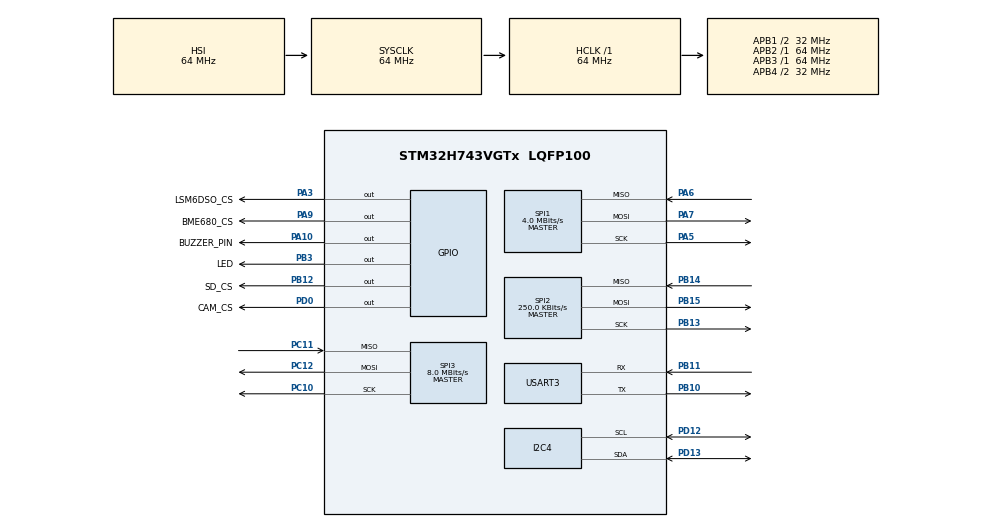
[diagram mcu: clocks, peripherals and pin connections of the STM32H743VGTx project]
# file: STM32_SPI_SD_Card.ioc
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CORTEX_M7.default_mode_Activation=1
FATFS._MAX_SS=512
FATFS._USE_LFN=0
I2C4.Timing=0x00707CBB
Mcu.Family=STM32H7
Mcu.Name=STM32H743VGTx
Mcu.Package=LQFP100
NVIC.PriorityGroup=NVIC_PRIORITYGROUP_4
PA10.GPIO_Label=BUZZER_PIN
PA10.Signal=GPIO_Output
PA3.GPIO_Label=LSM6DSO_CS
PA3.GPIO_PuPd=GPIO_NOPULL
PA3.Signal=GPIO_Output
PA5.GPIO_PuPd=GPIO_NOPULL
PA5.Mode=Full_Duplex_Master
PA5.Signal=SPI1_SCK
PA6.GPIO_PuPd=GPIO_PULLUP
PA6.Mode=Full_Duplex_Master
PA6.Signal=SPI1_MISO
PA7.GPIO_PuPd=GPIO_PULLUP
PA7.Mode=Full_Duplex_Master
PA7.Signal=SPI1_MOSI
PA9.GPIO_Label=BME680_CS
PA9.Signal=GPIO_Output
PB10.Mode=Asynchronous
PB10.Signal=USART3_TX
PB11.Mode=Asynchronous
PB11.Signal=USART3_RX
PB12.GPIO_Label=SD_CS
PB12.GPIO_ModeDefaultOutputPP=GPIO_MODE_OUTPUT_PP
PB12.GPIO_PuPd=GPIO_NOPULL
PB12.PinState=GPIO_PIN_SET
PB12.Signal=GPIO_Output
PB13.GPIO_PuPd=GPIO_NOPULL
PB13.Mode=Full_Duplex_Master
PB13.Signal=SPI2_SCK
PB14.GPIO_PuPd=GPIO_PULLUP
PB14.Mode=Full_Duplex_Master
PB14.Signal=SPI2_MISO
PB15.GPIO_PuPd=GPIO_PULLUP
PB15.Mode=Full_Duplex_Master
PB15.Signal=SPI2_MOSI
PB3\ (JTDO/TRACESWO).GPIO_Label=LED
PB3\ (JTDO/TRACESWO).Signal=GPIO_Output
PC10.Mode=Full_Duplex_Master
PC10.Signal=SPI3_SCK
PC11.Mode=Full_Duplex_Master
PC11.Signal=SPI3_MISO
PC12.Mode=Full_Duplex_Master
PC12.Signal=SPI3_MOSI
PD0.GPIO_Label=CAM_CS
PD0.Signal=GPIO_Output
PD12.Mode=I2C
PD12.Signal=I2C4_SCL
PD13.Mode=I2C
PD13.Signal=I2C4_SDA
ProjectManager.HeapSize=0x400
ProjectManager.StackSize=0x800
ProjectManager.TargetToolchain=STM32CubeIDE
RCC.ADCFreq_Value=129000000
RCC.APB1Freq_Value=32000000
RCC.APB2Freq_Value=64000000
RCC.APB3Freq_Value=64000000
RCC.APB4Freq_Value=32000000
RCC.CortexFreq_Value=64000000
RCC.D2PPRE1=RCC_APB1_DIV2
RCC.D3PPRE=RCC_APB4_DIV2
RCC.DIVM1=4
RCC.DIVN1=10
RCC.HCLKFreq_Value=64000000
RCC.PLLFRACN=0
RCC.SPI123CLockSelection=RCC_SPI123CLKSOURCE_CLKP
RCC.SYSCLKFreq_VALUE=64000000
RCC.USBCLockSelection=RCC_USBCLKSOURCE_HSI48
RCC.USBFreq_Value=48000000
SPI1.BaudRatePrescaler=SPI_BAUDRATEPRESCALER_16
SPI1.CalculateBaudRate=4.0 MBits/s
SPI1.DataSize=SPI_DATASIZE_16BIT
SPI1.Direction=SPI_DIRECTION_2LINES
SPI1.Mode=SPI_MODE_MASTER
SPI1.VirtualType=VM_MASTER
SPI2.BaudRatePrescaler=SPI_BAUDRATEPRESCALER_256
SPI2.CalculateBaudRate=250.0 KBits/s
SPI2.DataSize=SPI_DATASIZE_8BIT
SPI2.Direction=SPI_DIRECTION_2LINES
SPI2.Mode=SPI_MODE_MASTER
SPI2.VirtualType=VM_MASTER
SPI3.BaudRatePrescaler=SPI_BAUDRATEPRESCALER_8
SPI3.CalculateBaudRate=8.0 MBits/s
SPI3.DataSize=SPI_DATASIZE_8BIT
SPI3.Direction=SPI_DIRECTION_2LINES
SPI3.Mode=SPI_MODE_MASTER
SPI3.VirtualType=VM_MASTER
USART3.VirtualMode-Asynchronous=VM_ASYNC
VP_FATFS_VS_Generic.Mode=User_defined
VP_MEMORYMAP_VS_MEMORYMAP.Mode=CurAppReg
board=custom

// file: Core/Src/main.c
/* USER CODE BEGIN Header */
/**
  ******************************************************************************
  * @file           : main.c
  * @brief          : Main program body
  ******************************************************************************
  * @attention
  *
  * Copyright (c) 2026 STMicroelectronics.
  * All rights reserved.
  *
  * This software is licensed under terms that can be found in the LICENSE file
  * in the root directory of this software component.
  * If no LICENSE file comes with this software, it is provided AS-IS.
  *
  ******************************************************************************
  */
/* USER CODE END Header */
#include "main.h"
#include "fatfs.h"

/* USER CODE BEGIN Includes */
#include <stdio.h>
#include <string.h>
#include <stdarg.h> //for va_list var arg functions
#include "lsm6dso32_device.h"
#include "SD_Card.h"

/* USER CODE END Includes */

I2C_HandleTypeDef hi2c4;

SPI_HandleTypeDef hspi1;
SPI_HandleTypeDef hspi2;
SPI_HandleTypeDef hspi3;

UART_HandleTypeDef huart3;

void SystemClock_Config(void);
void PeriphCommonClock_Config(void);
static void MPU_Config(void);
static void MX_GPIO_Init(void);
static void MX_SPI2_Init(void);
static void MX_USART3_UART_Init(void);
static void MX_SPI1_Init(void);
static void MX_I2C4_Init(void);
static void MX_SPI3_Init(void);

/* USER CODE BEGIN 0 */
// Function which you can call like any other printf function and the output will come out UART3
void myprintf(const char *fmt, ...) {
  static char buffer[256];
  va_list args;
  va_start(args, fmt);
  vsnprintf(buffer, sizeof(buffer), fmt, args);
  va_end(args);

  int len = strlen(buffer);
  HAL_UART_Transmit(&huart3, (uint8_t*)buffer, len, -1);
}
/* USER CODE END 0 */

int main(void)
{

  /* MPU Configuration--------------------------------------------------------*/
  MPU_Config();

  /* MCU Configuration--------------------------------------------------------*/

  /* Reset of all peripherals, Initializes the Flash interface and the Systick. */
  HAL_Init();

  /* Configure the system clock */
  SystemClock_Config();

  /* Configure the peripherals common clocks */
  PeriphCommonClock_Config();

  /* Initialize all configured peripherals */
  MX_GPIO_Init();
  MX_SPI2_Init();
  MX_FATFS_Init();
  MX_USART3_UART_Init();
  MX_SPI1_Init();
  MX_I2C4_Init();
  MX_SPI3_Init();
  /* USER CODE BEGIN 2 */

  /// Test SD Card writing
  SD_initAndMount();
  //SD_createAndOpenFile("test2.txt");
  //SD_openFileForWriting("test2.txt");
  //SD_writeToOpenedFile("Something new in here now\r\n");
  //SD_writeToOpenedFile("Did the text get changed?\r\n");
  //SD_closeFile();
  //SD_unmount();

  // Initialize LSM6DSO32 IMU device
  HAL_Delay(1000);
  lsm6_init();
  /* USER CODE END 2 */

  /* Infinite loop */
  /* USER CODE BEGIN WHILE */
  uint8_t count = 0;
  while (1)
  {
    /* USER CODE END WHILE */

    /* USER CODE BEGIN 3 */
	switch (count++)
	{
		case 0:
		case 1:
			// This code will run twice as often as the other code
			//myprintf("Runs 2x as often\r\n");
			break;

		case 2:
			// This will run half as often
			//myprintf("Runs 1/2 as often\r\n");
			break;

		default:
			break;
	}
	// wrap count around
	if (count >= 3)
		count = 0;

	// Blink LED
	HAL_GPIO_TogglePin(LED_GPIO_Port, LED_Pin);	// Toggle an LED
	HAL_Delay(1000);	// TODO don't delay like this in the main loop - this is called blocking code as it blocks everything, we want non-blocking code

	// Test LSM6DSO32 IMU Device
	lsm6_getAndPrintData();
  }
  /* USER CODE END 3 */
}

void SystemClock_Config(void)
{
  RCC_OscInitTypeDef RCC_OscInitStruct = {0};
  RCC_ClkInitTypeDef RCC_ClkInitStruct = {0};

  /** Supply configuration update enable
  */
  HAL_PWREx_ConfigSupply(PWR_LDO_SUPPLY);

  /** Configure the main internal regulator output voltage
  */
  __HAL_PWR_VOLTAGESCALING_CONFIG(PWR_REGULATOR_VOLTAGE_SCALE3);

  while(!__HAL_PWR_GET_FLAG(PWR_FLAG_VOSRDY)) {}

  /** Initializes the RCC Oscillators according to the specified parameters
  * in the RCC_OscInitTypeDef structure.
  */
  RCC_OscInitStruct.OscillatorType = RCC_OSCILLATORTYPE_HSI;
  RCC_OscInitStruct.HSIState = RCC_HSI_DIV1;
  RCC_OscInitStruct.HSICalibrationValue = RCC_HSICALIBRATION_DEFAULT;
  RCC_OscInitStruct.PLL.PLLState = RCC_PLL_NONE;
  if (HAL_RCC_OscConfig(&RCC_OscInitStruct) != HAL_OK)
  {
    Error_Handler();
  }

  /** Initializes the CPU, AHB and APB buses clocks
  */
  RCC_ClkInitStruct.ClockType = RCC_CLOCKTYPE_HCLK|RCC_CLOCKTYPE_SYSCLK
                              |RCC_CLOCKTYPE_PCLK1|RCC_CLOCKTYPE_PCLK2
                              |RCC_CLOCKTYPE_D3PCLK1|RCC_CLOCKTYPE_D1PCLK1;
  RCC_ClkInitStruct.SYSCLKSource = RCC_SYSCLKSOURCE_HSI;
  RCC_ClkInitStruct.SYSCLKDivider = RCC_SYSCLK_DIV1;
  RCC_ClkInitStruct.AHBCLKDivider = RCC_HCLK_DIV1;
  RCC_ClkInitStruct.APB3CLKDivider = RCC_APB3_DIV1;
  RCC_ClkInitStruct.APB1CLKDivider = RCC_APB1_DIV2;
  RCC_ClkInitStruct.APB2CLKDivider = RCC_APB2_DIV1;
  RCC_ClkInitStruct.APB4CLKDivider = RCC_APB4_DIV2;

  if (HAL_RCC_ClockConfig(&RCC_ClkInitStruct, FLASH_LATENCY_1) != HAL_OK)
  {
    Error_Handler();
  }
}

void PeriphCommonClock_Config(void)
{
  RCC_PeriphCLKInitTypeDef PeriphClkInitStruct = {0};

  /** Initializes the peripherals clock
  */
  PeriphClkInitStruct.PeriphClockSelection = RCC_PERIPHCLK_CKPER;
  PeriphClkInitStruct.CkperClockSelection = RCC_CLKPSOURCE_HSI;
  if (HAL_RCCEx_PeriphCLKConfig(&PeriphClkInitStruct) != HAL_OK)
  {
    Error_Handler();
  }
}

static void MX_I2C4_Init(void)
{

  hi2c4.Instance = I2C4;
  hi2c4.Init.Timing = 0x00707CBB;
  hi2c4.Init.OwnAddress1 = 0;
  hi2c4.Init.AddressingMode = I2C_ADDRESSINGMODE_7BIT;
  hi2c4.Init.DualAddressMode = I2C_DUALADDRESS_DISABLE;
  hi2c4.Init.OwnAddress2 = 0;
  hi2c4.Init.OwnAddress2Masks = I2C_OA2_NOMASK;
  hi2c4.Init.GeneralCallMode = I2C_GENERALCALL_DISABLE;
  hi2c4.Init.NoStretchMode = I2C_NOSTRETCH_DISABLE;
  if (HAL_I2C_Init(&hi2c4) != HAL_OK)
  {
    Error_Handler();
  }

  /** Configure Analogue filter
  */
  if (HAL_I2CEx_ConfigAnalogFilter(&hi2c4, I2C_ANALOGFILTER_ENABLE) != HAL_OK)
  {
    Error_Handler();
  }

  /** Configure Digital filter
  */
  if (HAL_I2CEx_ConfigDigitalFilter(&hi2c4, 0) != HAL_OK)
  {
    Error_Handler();
  }

}

static void MX_SPI1_Init(void)
{

  /* SPI1 parameter configuration*/
  hspi1.Instance = SPI1;
  hspi1.Init.Mode = SPI_MODE_MASTER;
  hspi1.Init.Direction = SPI_DIRECTION_2LINES;
  hspi1.Init.DataSize = SPI_DATASIZE_16BIT;
  hspi1.Init.CLKPolarity = SPI_POLARITY_LOW;
  hspi1.Init.CLKPhase = SPI_PHASE_1EDGE;
  hspi1.Init.NSS = SPI_NSS_SOFT;
  hspi1.Init.BaudRatePrescaler = SPI_BAUDRATEPRESCALER_16;
  hspi1.Init.FirstBit = SPI_FIRSTBIT_MSB;
  hspi1.Init.TIMode = SPI_TIMODE_DISABLE;
  hspi1.Init.CRCCalculation = SPI_CRCCALCULATION_DISABLE;
  hspi1.Init.CRCPolynomial = 0x0;
  hspi1.Init.NSSPMode = SPI_NSS_PULSE_ENABLE;
  hspi1.Init.NSSPolarity = SPI_NSS_POLARITY_LOW;
  hspi1.Init.FifoThreshold = SPI_FIFO_THRESHOLD_01DATA;
  hspi1.Init.TxCRCInitializationPattern = SPI_CRC_INITIALIZATION_ALL_ZERO_PATTERN;
  hspi1.Init.RxCRCInitializationPattern = SPI_CRC_INITIALIZATION_ALL_ZERO_PATTERN;
  hspi1.Init.MasterSSIdleness = SPI_MASTER_SS_IDLENESS_00CYCLE;
  hspi1.Init.MasterInterDataIdleness = SPI_MASTER_INTERDATA_IDLENESS_00CYCLE;
  hspi1.Init.MasterReceiverAutoSusp = SPI_MASTER_RX_AUTOSUSP_DISABLE;
  hspi1.Init.MasterKeepIOState = SPI_MASTER_KEEP_IO_STATE_DISABLE;
  hspi1.Init.IOSwap = SPI_IO_SWAP_DISABLE;
  if (HAL_SPI_Init(&hspi1) != HAL_OK)
  {
    Error_Handler();
  }

}

static void MX_SPI2_Init(void)
{

  /* SPI2 parameter configuration*/
  hspi2.Instance = SPI2;
  hspi2.Init.Mode = SPI_MODE_MASTER;
  hspi2.Init.Direction = SPI_DIRECTION_2LINES;
  hspi2.Init.DataSize = SPI_DATASIZE_8BIT;
  hspi2.Init.CLKPolarity = SPI_POLARITY_LOW;
  hspi2.Init.CLKPhase = SPI_PHASE_1EDGE;
  hspi2.Init.NSS = SPI_NSS_SOFT;
  hspi2.Init.BaudRatePrescaler = SPI_BAUDRATEPRESCALER_256;
  hspi2.Init.FirstBit = SPI_FIRSTBIT_MSB;
  hspi2.Init.TIMode = SPI_TIMODE_DISABLE;
  hspi2.Init.CRCCalculation = SPI_CRCCALCULATION_DISABLE;
  hspi2.Init.CRCPolynomial = 0x0;
  hspi2.Init.NSSPMode = SPI_NSS_PULSE_ENABLE;
  hspi2.Init.NSSPolarity = SPI_NSS_POLARITY_LOW;
  hspi2.Init.FifoThreshold = SPI_FIFO_THRESHOLD_01DATA;
  hspi2.Init.TxCRCInitializationPattern = SPI_CRC_INITIALIZATION_ALL_ZERO_PATTERN;
  hspi2.Init.RxCRCInitializationPattern = SPI_CRC_INITIALIZATION_ALL_ZERO_PATTERN;
  hspi2.Init.MasterSSIdleness = SPI_MASTER_SS_IDLENESS_00CYCLE;
  hspi2.Init.MasterInterDataIdleness = SPI_MASTER_INTERDATA_IDLENESS_00CYCLE;
  hspi2.Init.MasterReceiverAutoSusp = SPI_MASTER_RX_AUTOSUSP_DISABLE;
  hspi2.Init.MasterKeepIOState = SPI_MASTER_KEEP_IO_STATE_DISABLE;
  hspi2.Init.IOSwap = SPI_IO_SWAP_DISABLE;
  if (HAL_SPI_Init(&hspi2) != HAL_OK)
  {
    Error_Handler();
  }

}

static void MX_SPI3_Init(void)
{

  /* SPI3 parameter configuration*/
  hspi3.Instance = SPI3;
  hspi3.Init.Mode = SPI_MODE_MASTER;
  hspi3.Init.Direction = SPI_DIRECTION_2LINES;
  hspi3.Init.DataSize = SPI_DATASIZE_8BIT;
  hspi3.Init.CLKPolarity = SPI_POLARITY_LOW;
  hspi3.Init.CLKPhase = SPI_PHASE_1EDGE;
  hspi3.Init.NSS = SPI_NSS_SOFT;
  hspi3.Init.BaudRatePrescaler = SPI_BAUDRATEPRESCALER_8;
  hspi3.Init.FirstBit = SPI_FIRSTBIT_MSB;
  hspi3.Init.TIMode = SPI_TIMODE_DISABLE;
  hspi3.Init.CRCCalculation = SPI_CRCCALCULATION_DISABLE;
  hspi3.Init.CRCPolynomial = 0x0;
  hspi3.Init.NSSPMode = SPI_NSS_PULSE_ENABLE;
  hspi3.Init.NSSPolarity = SPI_NSS_POLARITY_LOW;
  hspi3.Init.FifoThreshold = SPI_FIFO_THRESHOLD_01DATA;
  hspi3.Init.TxCRCInitializationPattern = SPI_CRC_INITIALIZATION_ALL_ZERO_PATTERN;
  hspi3.Init.RxCRCInitializationPattern = SPI_CRC_INITIALIZATION_ALL_ZERO_PATTERN;
  hspi3.Init.MasterSSIdleness = SPI_MASTER_SS_IDLENESS_00CYCLE;
  hspi3.Init.MasterInterDataIdleness = SPI_MASTER_INTERDATA_IDLENESS_00CYCLE;
  hspi3.Init.MasterReceiverAutoSusp = SPI_MASTER_RX_AUTOSUSP_DISABLE;
  hspi3.Init.MasterKeepIOState = SPI_MASTER_KEEP_IO_STATE_DISABLE;
  hspi3.Init.IOSwap = SPI_IO_SWAP_DISABLE;
  if (HAL_SPI_Init(&hspi3) != HAL_OK)
  {
    Error_Handler();
  }

}

static void MX_USART3_UART_Init(void)
{

  huart3.Instance = USART3;
  huart3.Init.BaudRate = 115200;
  huart3.Init.WordLength = UART_WORDLENGTH_8B;
  huart3.Init.StopBits = UART_STOPBITS_1;
  huart3.Init.Parity = UART_PARITY_NONE;
  huart3.Init.Mode = UART_MODE_TX_RX;
  huart3.Init.HwFlowCtl = UART_HWCONTROL_NONE;
  huart3.Init.OverSampling = UART_OVERSAMPLING_16;
  huart3.Init.OneBitSampling = UART_ONE_BIT_SAMPLE_DISABLE;
  huart3.Init.ClockPrescaler = UART_PRESCALER_DIV1;
  huart3.AdvancedInit.AdvFeatureInit = UART_ADVFEATURE_NO_INIT;
  if (HAL_UART_Init(&huart3) != HAL_OK)
  {
    Error_Handler();
  }
  if (HAL_UARTEx_SetTxFifoThreshold(&huart3, UART_TXFIFO_THRESHOLD_1_8) != HAL_OK)
  {
    Error_Handler();
  }
  if (HAL_UARTEx_SetRxFifoThreshold(&huart3, UART_RXFIFO_THRESHOLD_1_8) != HAL_OK)
  {
    Error_Handler();
  }
  if (HAL_UARTEx_DisableFifoMode(&huart3) != HAL_OK)
  {
    Error_Handler();
  }

}

static void MX_GPIO_Init(void)
{
  GPIO_InitTypeDef GPIO_InitStruct = {0};

  /* GPIO Ports Clock Enable */
  __HAL_RCC_GPIOA_CLK_ENABLE();
  __HAL_RCC_GPIOB_CLK_ENABLE();
  __HAL_RCC_GPIOD_CLK_ENABLE();
  __HAL_RCC_GPIOC_CLK_ENABLE();

  /*Configure GPIO pin Output Level */
  HAL_GPIO_WritePin(GPIOA, LSM6DSO_CS_Pin|BME680_CS_Pin|BUZZER_PIN_Pin, GPIO_PIN_RESET);

  /*Configure GPIO pin Output Level */
  HAL_GPIO_WritePin(SD_CS_GPIO_Port, SD_CS_Pin, GPIO_PIN_SET);

  /*Configure GPIO pin Output Level */
  HAL_GPIO_WritePin(CAM_CS_GPIO_Port, CAM_CS_Pin, GPIO_PIN_RESET);

  /*Configure GPIO pin Output Level */
  HAL_GPIO_WritePin(LED_GPIO_Port, LED_Pin, GPIO_PIN_RESET);

  /*Configure GPIO pins : LSM6DSO_CS_Pin BME680_CS_Pin BUZZER_PIN_Pin */
  GPIO_InitStruct.Pin = LSM6DSO_CS_Pin|BME680_CS_Pin|BUZZER_PIN_Pin;
  GPIO_InitStruct.Mode = GPIO_MODE_OUTPUT_PP;
  GPIO_InitStruct.Pull = GPIO_NOPULL;
  GPIO_InitStruct.Speed = GPIO_SPEED_FREQ_LOW;
  HAL_GPIO_Init(GPIOA, &GPIO_InitStruct);

  /*Configure GPIO pins : SD_CS_Pin LED_Pin */
  GPIO_InitStruct.Pin = SD_CS_Pin|LED_Pin;
  GPIO_InitStruct.Mode = GPIO_MODE_OUTPUT_PP;
  GPIO_InitStruct.Pull = GPIO_NOPULL;
  GPIO_InitStruct.Speed = GPIO_SPEED_FREQ_LOW;
  HAL_GPIO_Init(GPIOB, &GPIO_InitStruct);

  /*Configure GPIO pin : CAM_CS_Pin */
  GPIO_InitStruct.Pin = CAM_CS_Pin;
  GPIO_InitStruct.Mode = GPIO_MODE_OUTPUT_PP;
  GPIO_InitStruct.Pull = GPIO_NOPULL;
  GPIO_InitStruct.Speed = GPIO_SPEED_FREQ_LOW;
  HAL_GPIO_Init(CAM_CS_GPIO_Port, &GPIO_InitStruct);

}

 /* MPU Configuration */

void MPU_Config(void)
{
  MPU_Region_InitTypeDef MPU_InitStruct = {0};

  /* Disables the MPU */
  HAL_MPU_Disable();

  /** Initializes and configures the Region and the memory to be protected
  */
  MPU_InitStruct.Enable = MPU_REGION_ENABLE;
  MPU_InitStruct.Number = MPU_REGION_NUMBER0;
  MPU_InitStruct.BaseAddress = 0x0;
  MPU_InitStruct.Size = MPU_REGION_SIZE_4GB;
  MPU_InitStruct.SubRegionDisable = 0x87;
  MPU_InitStruct.TypeExtField = MPU_TEX_LEVEL0;
  MPU_InitStruct.AccessPermission = MPU_REGION_NO_ACCESS;
  MPU_InitStruct.DisableExec = MPU_INSTRUCTION_ACCESS_DISABLE;
  MPU_InitStruct.IsShareable = MPU_ACCESS_SHAREABLE;
  MPU_InitStruct.IsCacheable = MPU_ACCESS_NOT_CACHEABLE;
  MPU_InitStruct.IsBufferable = MPU_ACCESS_NOT_BUFFERABLE;

  HAL_MPU_ConfigRegion(&MPU_InitStruct);
  /* Enables the MPU */
  HAL_MPU_Enable(MPU_PRIVILEGED_DEFAULT);

}

void Error_Handler(void)
{
  __disable_irq();
  while (1)
  {
  }
}
